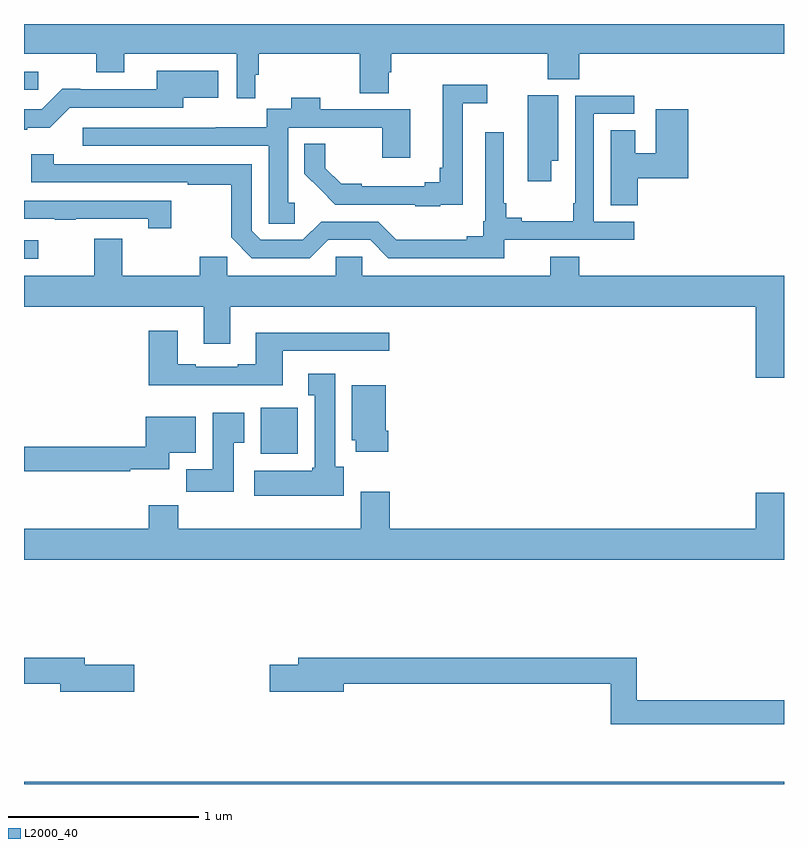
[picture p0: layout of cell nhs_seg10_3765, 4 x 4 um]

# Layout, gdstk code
import gdstk
lib = gdstk.Library(unit=1e-6, precision=1e-09)
def R(c, l, rs):  # rectangles x0, y0, x1, y1
    for r in rs: c.add(gdstk.rectangle(r[:2], r[2:], *l))
def P(c, l, *ps):  # polygons
    for p in ps: c.add(gdstk.Polygon(p, *l))
L2000_40 = (2000, 40)

nhs_seg10_3765 = lib.new_cell('nhs_seg10_3765')
R(nhs_seg10_3765, L2000_40, [(317,1268.5,321,1268.512), (318.245,1270.238,318.442,1270.48), (317,1271.265,317.074,1271.361), (317,1272.153,317.074,1272.249)])
P(nhs_seg10_3765, L2000_40, [(318.217,1272.234),(318.236,1272.234),(318.236,1272.344),(318.767,1272.344),(318.767,1272.136),(318.919,1272.136),(318.919,1272.246),(318.932,1272.246),(318.932,1272.344),(319.757,1272.344),(319.757,1272.21),(319.922,1272.21),(319.922,1272.344),(321,1272.344),(321,1272.5),(317,1272.5),(317,1272.344),(317.38,1272.344),(317.38,1272.245),(317.527,1272.245),(317.527,1272.344),(318.12,1272.344),(318.12,1272.108),(318.217,1272.108)],
  [(317.016,1271.954),(317.135,1271.954),(317.241,1272.06),(317.839,1272.06),(317.839,1272.113),(318.022,1272.113),(318.022,1272.253),(317.699,1272.253),(317.699,1272.156),(317.296,1272.156),(317.296,1272.158),(317.201,1272.158),(317.094,1272.051),(317,1272.051),(317,1271.943),(317.016,1271.943)],
  [(319.191,1271.549),(319.309,1271.549),(319.309,1272.083),(319.438,1272.083),(319.438,1272.181),(319.205,1272.181),(319.205,1271.743),(319.188,1271.743),(319.188,1271.666),(319.109,1271.666),(319.109,1271.647),(318.778,1271.647),(318.778,1271.658),(318.669,1271.658),(318.586,1271.741),(318.586,1271.87),(318.476,1271.87),(318.476,1271.713),(318.56,1271.63),(318.559,1271.629),(318.638,1271.55),(319.059,1271.55),(319.059,1271.54),(319.191,1271.54)],
  [(319.774,1271.78),(319.813,1271.78),(319.813,1272.124),(319.652,1272.124),(319.652,1271.673),(319.774,1271.673)],
  [(318.6,1271.364),(318.822,1271.364),(318.918,1271.268),(319.527,1271.268),(319.527,1271.364),(320.212,1271.364),(320.212,1271.46),(319.998,1271.46),(319.998,1272.027),(320.212,1272.027),(320.212,1272.123),(319.902,1272.123),(319.902,1271.557),(319.89,1271.557),(319.89,1271.462),(319.621,1271.462),(319.621,1271.48),(319.537,1271.48),(319.537,1271.557),(319.524,1271.557),(319.524,1271.929),(319.428,1271.929),(319.428,1271.461),(319.416,1271.461),(319.416,1271.384),(319.331,1271.384),(319.331,1271.365),(318.959,1271.365),(318.864,1271.46),(318.564,1271.46),(318.468,1271.364),(318.246,1271.364),(318.198,1271.412),(318.198,1271.763),(317.157,1271.763),(317.157,1271.815),(317.037,1271.815),(317.037,1271.667),(317.863,1271.667),(317.863,1271.655),(318.09,1271.655),(318.09,1271.377),(318.198,1271.268),(318.504,1271.268)],
  [(318.426,1271.56),(318.391,1271.56),(318.391,1271.955),(318.643,1271.955),(318.643,1271.954),(318.886,1271.954),(318.886,1271.796),(319.033,1271.796),(319.033,1272.051),(318.56,1272.051),(318.56,1272.112),(318.407,1272.112),(318.407,1272.055),(318.278,1272.055),(318.278,1271.956),(318.009,1271.956),(318.009,1271.955),(317.31,1271.955),(317.31,1271.859),(318.287,1271.859),(318.287,1271.557),(318.288,1271.557),(318.288,1271.449),(318.426,1271.449)],
  [(320.231,1271.687),(320.495,1271.687),(320.495,1272.052),(320.324,1272.052),(320.324,1271.821),(320.218,1271.821),(320.218,1271.942),(320.087,1271.942),(320.087,1271.545),(320.231,1271.545)],
  [(317.776,1271.571),(317,1271.571),(317,1271.475),(317.161,1271.475),(317.161,1271.47),(317.273,1271.47),(317.273,1271.475),(317.655,1271.475),(317.655,1271.424),(317.776,1271.424)],
  [(321,1271.176),(319.922,1271.176),(319.922,1271.275),(319.769,1271.275),(319.769,1271.176),(318.78,1271.176),(318.78,1271.274),(318.642,1271.274),(318.642,1271.176),(318.071,1271.176),(318.071,1271.274),(317.926,1271.274),(317.926,1271.176),(317.517,1271.176),(317.517,1271.371),(317.369,1271.371),(317.369,1271.176),(317,1271.176),(317,1271.012),(317.945,1271.012),(317.945,1270.818),(318.085,1270.818),(318.085,1271.012),(320.852,1271.012),(320.852,1270.638),(321,1270.638)],
  [(318.361,1270.779),(318.922,1270.779),(318.922,1270.876),(318.221,1270.876),(318.221,1270.708),(318.125,1270.708),(318.125,1270.695),(317.905,1270.695),(317.905,1270.708),(317.809,1270.708),(317.809,1270.885),(317.657,1270.885),(317.657,1270.598),(318.361,1270.598)],
  [(318.682,1270.17),(318.637,1270.17),(318.637,1270.66),(318.497,1270.66),(318.497,1270.547),(318.53,1270.547),(318.53,1270.164),(318.517,1270.164),(318.517,1270.15),(318.213,1270.15),(318.213,1270.016),(318.682,1270.016)],
  [(318.917,1270.36),(318.904,1270.36),(318.904,1270.6),(318.725,1270.6),(318.725,1270.308),(318.746,1270.308),(318.746,1270.248),(318.917,1270.248)],
  [(318.103,1270.297),(318.16,1270.297),(318.16,1270.453),(317.993,1270.453),(317.993,1270.156),(317.854,1270.156),(317.854,1270.038),(318.103,1270.038)],
  [(317.558,1270.157),(317.764,1270.157),(317.764,1270.244),(317.905,1270.244),(317.905,1270.432),(317.642,1270.432),(317.642,1270.274),(317,1270.274),(317,1270.146),(317.558,1270.146)],
  [(321,1270.033),(320.852,1270.033),(320.852,1269.844),(318.926,1269.844),(318.926,1270.039),(318.773,1270.039),(318.773,1269.844),(317.813,1269.844),(317.813,1269.968),(317.657,1269.968),(317.657,1269.844),(317,1269.844),(317,1269.68),(321,1269.68)],
  [(321,1268.942),(320.225,1268.942),(320.225,1269.164),(318.443,1269.164),(318.443,1269.128),(318.294,1269.128),(318.294,1268.986),(318.682,1268.986),(318.682,1269.028),(320.089,1269.028),(320.089,1268.814),(321,1268.814)],
  [(317.581,1269.128),(317.32,1269.128),(317.32,1269.164),(317,1269.164),(317,1269.028),(317.192,1269.028),(317.192,1268.986),(317.581,1268.986)])

lib.write_gds('nhs_seg10_3765.gds')
